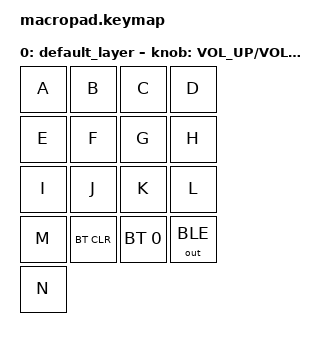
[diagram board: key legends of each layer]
// This file was generated from a template. Edit it to match your keyboard.
// See https://zmk.dev/docs/development/hardware-integration/new-shield for more instructions.

#include <behaviors.dtsi>
#include <dt-bindings/zmk/keys.h>
#include <dt-bindings/zmk/bt.h>
#include <dt-bindings/zmk/outputs.h>

/ {
    keymap {
        compatible = "zmk,keymap";

        default_layer {
            bindings = <
                &kp A        &kp B        &kp C        &kp D
                &kp E        &kp F        &kp G        &kp H
                &kp I        &kp J        &kp K        &kp L
                &kp M        &bt BT_CLR   &bt BT_SEL 0 &out OUT_BLE
                &kp N
            >;

            sensor-bindings = <&inc_dec_kp C_VOL_UP C_VOL_DN>;
        };
    };
};
